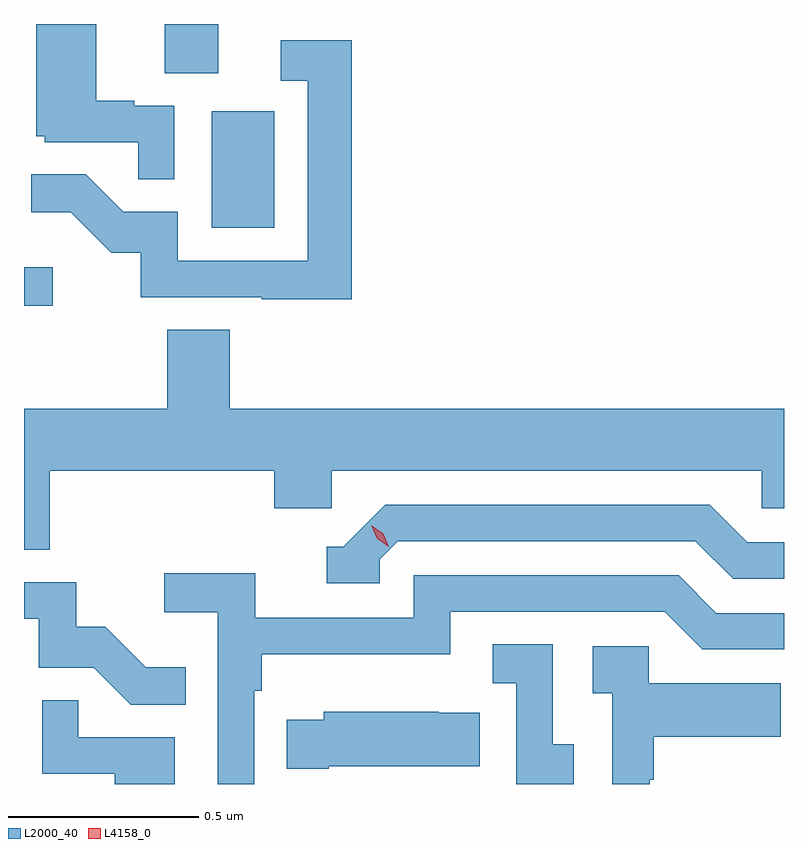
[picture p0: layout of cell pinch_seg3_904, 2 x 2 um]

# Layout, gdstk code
import gdstk
lib = gdstk.Library(unit=1e-6, precision=1e-09)
def R(c, l, rs):  # rectangles x0, y0, x1, y1
    for r in rs: c.add(gdstk.rectangle(r[:2], r[2:], *l))
def P(c, l, *ps):  # polygons
    for p in ps: c.add(gdstk.Polygon(p, *l))
L2000_40 = (2000, 40)
L4158_0 = (4158, 0)

pinch_seg3_904 = lib.new_cell('pinch_seg3_904')
R(pinch_seg3_904, L2000_40, [(880.374,698.686,880.45,698.788), (880.868,698.892,881.032,699.199), (880.745,699.298,880.885,699.428)])
P(pinch_seg3_904, L2000_40, [(880.77,699.213),(880.664,699.213),(880.664,699.226),(880.564,699.226),(880.564,699.428),(880.406,699.428),(880.406,699.132),(880.428,699.132),(880.428,699.117),(880.675,699.117),(880.675,699.019),(880.77,699.019)],
  [(881.237,699.385),(881.049,699.385),(881.049,699.279),(881.121,699.279),(881.121,698.805),(880.779,698.805),(880.779,698.934),(880.635,698.934),(880.537,699.032),(880.393,699.032),(880.393,698.933),(880.497,698.933),(880.604,698.826),(880.681,698.826),(880.681,698.709),(880.999,698.709),(880.999,698.704),(881.237,698.704)],
  [(880.442,698.252),(881.033,698.252),(881.033,698.154),(881.184,698.154),(881.184,698.252),(882.315,698.252),(882.315,698.154),(882.374,698.154),(882.374,698.416),(880.916,698.416),(880.916,698.624),(880.751,698.624),(880.751,698.416),(880.374,698.416),(880.374,698.044),(880.442,698.044)],
  [(881.31,698.019),(881.358,698.067),(882.141,698.067),(882.24,697.968),(882.374,697.968),(882.374,698.064),(882.277,698.064),(882.178,698.163),(881.325,698.163),(881.214,698.052),(881.171,698.052),(881.171,697.956),(881.31,697.956)],
  [(880.98,697.673),(881,697.673),(881,697.769),(881.496,697.769),(881.496,697.881),(882.06,697.881),(882.159,697.782),(882.374,697.782),(882.374,697.878),(882.196,697.878),(882.097,697.977),(881.4,697.977),(881.4,697.866),(880.982,697.866),(880.982,697.982),(880.743,697.982),(880.743,697.88),(880.884,697.88),(880.884,697.428),(880.98,697.428)],
  [(880.799,697.735),(880.695,697.735),(880.588,697.842),(880.512,697.842),(880.512,697.959),(880.374,697.959),(880.374,697.863),(880.413,697.863),(880.413,697.734),(880.557,697.734),(880.655,697.636),(880.799,697.636)],
  [(881.821,697.533),(881.766,697.533),(881.766,697.796),(881.607,697.796),(881.607,697.693),(881.67,697.693),(881.67,697.428),(881.821,697.428)],
  [(882.021,697.439),(882.031,697.439),(882.031,697.553),(882.365,697.553),(882.365,697.693),(882.018,697.693),(882.018,697.791),(881.871,697.791),(881.871,697.667),(881.922,697.667),(881.922,697.428),(882.021,697.428)],
  [(880.771,697.551),(880.517,697.551),(880.517,697.649),(880.422,697.649),(880.422,697.455),(880.613,697.455),(880.613,697.428),(880.771,697.428)],
  [(881.176,697.475),(881.573,697.475),(881.573,697.615),(881.465,697.615),(881.465,697.618),(881.163,697.618),(881.163,697.597),(881.065,697.597),(881.065,697.468),(881.176,697.468)])
P(pinch_seg3_904, L4158_0, [(881.334,698.053),(881.304,698.074),(881.289,698.106),(881.289,698.107),(881.289,698.107),(881.319,698.086),(881.334,698.053),(881.334,698.053)])

lib.write_gds('pinch_seg3_904.gds')
